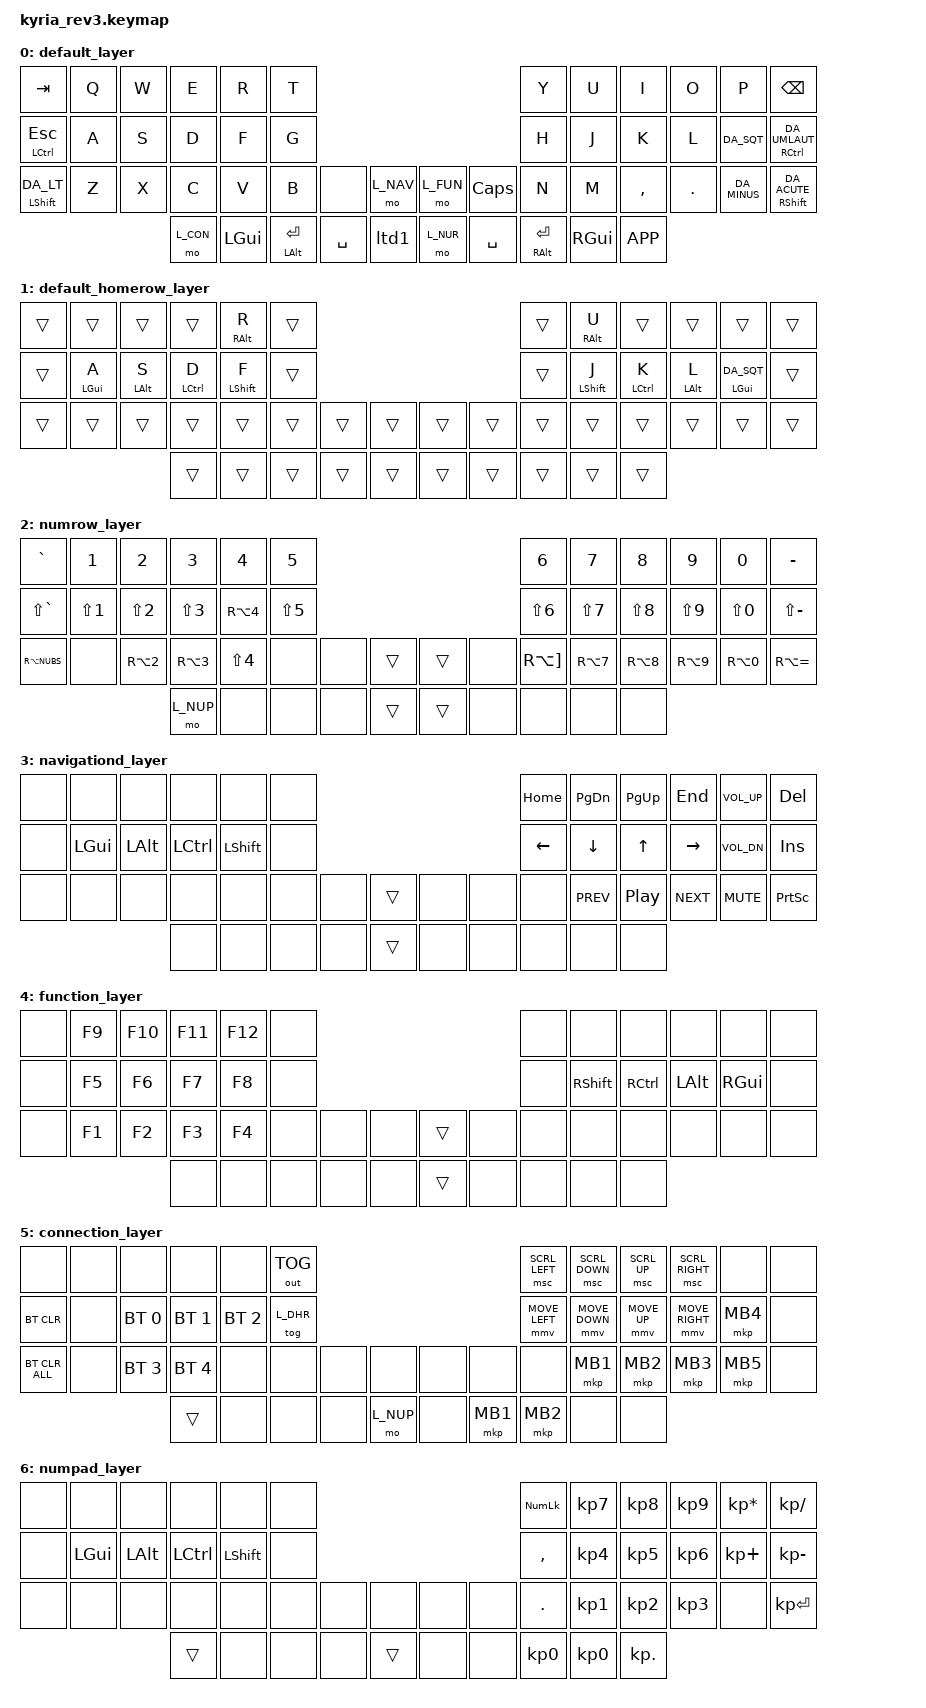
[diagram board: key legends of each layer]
#include <behaviors.dtsi>
#include <dt-bindings/zmk/bt.h>
#include <dt-bindings/zmk/keys.h>
#include <dt-bindings/zmk/outputs.h>

#include "keys_da.h"
#define DA_OE DA_O_SLASH
#define DA_AA DA_A_RING

#define DA_UM DA_UMLAUT
#define DA_QT DA_SQT
#define DA_MI DA_MINUS
#define DA_AC DA_ACUTE

#define L_DEF 0 // Default layer
#define L_DHR 1 // Default layer
#define L_NUR 2 // Numrow layer
#define L_NAV 3 // Navigation layer
#define L_FUN 4 // Function layer
#define L_CON 5 // Connection layer
#define L_NUP 6 // Numpad layer

#define ZMK_POINTING_DEFAULT_MOVE_VAL 1500  // default: 600
#define ZMK_POINTING_DEFAULT_SCRL_VAL 10    // default: 10
#include <dt-bindings/zmk/pointing.h>

#define MOVE_U MOVE_UP
#define MOVE_D MOVE_DOWN
#define MOVE_L MOVE_LEFT
#define MOVE_R MOVE_RIGHT

#define SCRL_U SCRL_UP
#define SCRL_D SCRL_DOWN
#define SCRL_L SCRL_LEFT
#define SCRL_R SCRL_RIGHT

/ {
    behaviors {
        hr1: normal_homerow_mods {
            compatible = "zmk,behavior-hold-tap";
            #binding-cells = <2>;
            tapping-term-ms = <200>;
            quick-tap-ms = <250>;
            flavor = "tap-preferred";
            bindings = <&kp>, <&kp>;
        };
        hr2: fast_homerow_mods {
            compatible = "zmk,behavior-hold-tap";
            #binding-cells = <2>;
            tapping-term-ms = <150>;
            quick-tap-ms = <250>;
            flavor = "tap-preferred";
            bindings = <&kp>, <&kp>;
        };
        ltd1: layer_tap_dance_1 {
            compatible = "zmk,behavior-tap-dance";
            #binding-cells = <0>;
            tapping-term-ms = <2000>;
            bindings = <&mo L_NUR>, <&mo L_FUN>;
        };
        mmv: mouse_move {
            x-input-code = <INPUT_REL_X>;
            y-input-code = <INPUT_REL_Y>;
            time-to-max-speed-ms = <500>;
            acceleration-exponent = <1>;
        };
    };

    combos {
        compatible = "zmk,combos";
        combo_ae {
            timeout-ms = <35>;
            key-positions = <7 8>;
            bindings = <&kp DA_AE>;
            layers = <L_DEF L_DHR>;
        };
        combo_oe {
            timeout-ms = <35>;
            key-positions = <8 9>;
            bindings = <&kp DA_OE>;
            layers = <L_DEF L_DHR>;
        };
        combo_aa {
            timeout-ms = <35>;
            key-positions = <9 10>;
            bindings = <&kp DA_AA>;
            layers = <L_DEF L_DHR>;
        };
    };

    keymap {
        compatible = "zmk,keymap";

        default_layer {
            bindings = <
            &kp TAB         &kp Q &kp W &kp E     &kp R    &kp T                                                        &kp Y        &kp U    &kp I     &kp O   &kp P     &kp BSPC
            &mt LCTRL ESC   &kp A &kp S &kp D     &kp F    &kp G                                                        &kp H        &kp J    &kp K     &kp L   &kp DA_QT &mt RCTRL DA_UM
            &mt LSHFT DA_LT &kp Z &kp X &kp C     &kp V    &kp B        &none     &mo L_NAV         &mo L_FUN &kp CAPS  &kp N        &kp M    &kp COMMA &kp DOT &kp DA_MI &mt RSHFT DA_AC
                                        &mo L_CON &kp LGUI &mt LALT RET &kp SPACE &ltd1             &mo L_NUR &kp SPACE &mt RALT RET &kp RGUI &kp K_APP
            >;
        };

        default_homerow_layer {
            bindings = <
            &trans &trans      &trans      &trans       &hr1 RALT R  &trans                                    &trans &hr1 RALT U  &trans       &trans      &trans          &trans
            &trans &hr1 LGUI A &hr1 LALT S &hr1 LCTRL D &hr2 LSHFT F &trans                                    &trans &hr2 LSHFT J &hr1 LCTRL K &hr1 LALT L &hr1 LGUI DA_QT &trans
            &trans &trans      &trans      &trans       &trans       &trans &trans &trans        &trans &trans &trans &trans       &trans       &trans      &trans          &trans
                                           &trans       &trans       &trans &trans &trans        &trans &trans &trans &trans       &trans
            >;
        };

        numrow_layer {
            bindings = <
            &kp GRAVE     &kp N1     &kp N2     &kp N3     &kp N4     &kp N5                                     &kp N6       &kp N7     &kp N8     &kp N9     &kp N0     &kp MINUS
            &kp LS(GRAVE) &kp LS(N1) &kp LS(N2) &kp LS(N3) &kp RA(N4) &kp LS(N5)                                 &kp LS(N6)   &kp LS(N7) &kp LS(N8) &kp LS(N9) &kp LS(N0) &kp LS(MINUS)
            &kp RA(NUBS)  &none      &kp RA(N2) &kp RA(N3) &kp LS(N4) &none      &none &trans       &trans &none &kp RA(RBKT) &kp RA(N7) &kp RA(N8) &kp RA(N9) &kp RA(N0) &kp RA(EQUAL)
                                                &mo L_NUP  &none      &none      &none &trans       &trans &none &none        &none      &none
            >;
        };

        navigationd_layer {
            bindings = <
            &none &none    &none    &none     &none     &none                                &kp HOME &kp PG_DN  &kp PG_UP &kp END    &kp C_VOL_UP &kp DEL
            &none &kp LGUI &kp LALT &kp LCTRL &kp LSHFT &none                                &kp LEFT &kp DOWN   &kp UP    &kp RIGHT  &kp C_VOL_DN &kp INS
            &none &none    &none    &none     &none     &none &none &trans       &none &none &none    &kp C_PREV &kp C_PP  &kp C_NEXT &kp C_MUTE   &kp PSCRN
                                    &none     &none     &none &none &trans       &none &none &none    &none      &none
            >;
        };

        function_layer {
            bindings = <
            &none &kp F9 &kp F10 &kp F11 &kp F12 &none                                 &none &none     &none     &none    &none    &none
            &none &kp F5 &kp F6  &kp F7  &kp F8  &none                                 &none &kp RSHFT &kp RCTRL &kp LALT &kp RGUI &none
            &none &kp F1 &kp F2  &kp F3  &kp F4  &none &none &none        &trans &none &none &none     &none     &none    &none    &none
                                 &none   &none   &none &none &none        &trans &none &none &none     &none
            >;
        };

        connection_layer {
            bindings = <
            &none          &none &none        &none        &none        &out OUT_TOG                                       &msc SCRL_L &msc SCRL_D &msc SCRL_U &msc SCRL_R &none    &none
            &bt BT_CLR     &none &bt BT_SEL 0 &bt BT_SEL 1 &bt BT_SEL 2 &tog L_DHR                                         &mmv MOVE_L &mmv MOVE_D &mmv MOVE_U &mmv MOVE_R &mkp MB4 &none
            &bt BT_CLR_ALL &none &bt BT_SEL 3 &bt BT_SEL 4 &none        &none        &none &none            &none &none    &none       &mkp MB1    &mkp MB2    &mkp MB3    &mkp MB5 &none
                                              &trans       &none        &none        &none &mo L_NUP        &none &mkp MB1 &mkp MB2    &none       &none
            >;
        };

        numpad_layer {
            bindings = <
            &none &none    &none    &none     &none     &none                                &kp KP_NUM &kp KP_N7 &kp KP_N8  &kp KP_N9 &kp KP_MULTIPLY &kp KP_DIVIDE
            &none &kp LGUI &kp LALT &kp LCTRL &kp LSHFT &none                                &kp COMMA  &kp KP_N4 &kp KP_N5  &kp KP_N6 &kp KP_PLUS     &kp KP_MINUS
            &none &none    &none    &none     &none     &none &none &none        &none &none &kp DOT    &kp KP_N1 &kp KP_N2  &kp KP_N3 &none           &kp KP_ENTER
                                    &trans    &none     &none &none &trans       &none &none &kp KP_N0  &kp KP_N0 &kp KP_DOT
            >;
        };

//        template_layer {
//            bindings = <
//            &none &none &none &none &none &none                                &none &none &none &none &none &none
//            &none &none &none &none &none &none                                &none &none &none &none &none &none
//            &none &none &none &none &none &none &none &none        &none &none &none &none &none &none &none &none
//                              &none &none &none &none &none        &none &none &none &none &none
//            >;
//        };
    };
};
